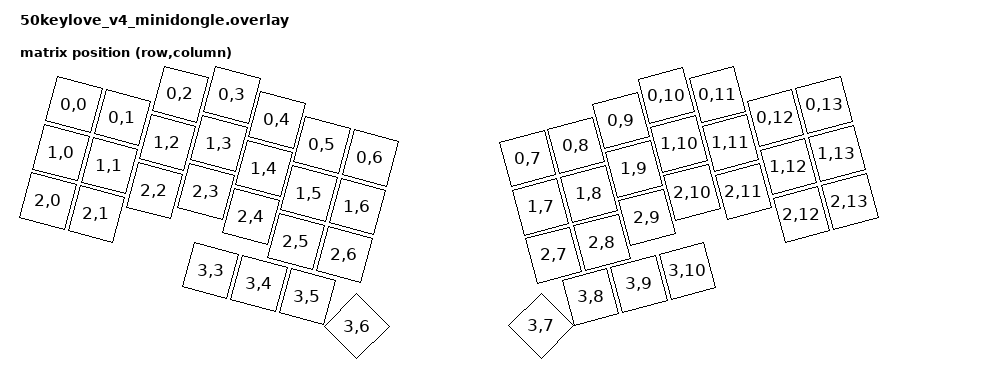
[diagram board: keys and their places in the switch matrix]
#include <dt-bindings/zmk/matrix_transform.h>
#include <physical_layouts.dtsi>

/ {
    chosen {
        zmk,kscan = &mock_kscan;
        zephyr,display = &oled;
        zmk,physical-layout = &physical_layout1;
    };

    mock_kscan: mock_kscan {
        compatible = "zmk,kscan-mock";
        columns = <0>;
        rows = <0>;
        events = <0>;
    };

    keymap_transform1: keymap_transform1 {
        compatible = "zmk,matrix-transform";
        columns = <14>; // Length of the "col-gpios" array
        rows = <4>; // Length of the "row-gpios" array
        map = <
            RC(0,0) RC(0,1) RC(0,2) RC(0,3) RC(0,4) RC(0,5) RC(0,6)  RC(0,7) RC(0,8) RC(0,9) RC(0,10) RC(0,11) RC(0,12) RC(0,13)
            RC(1,0) RC(1,1) RC(1,2) RC(1,3) RC(1,4) RC(1,5) RC(1,6)  RC(1,7) RC(1,8) RC(1,9) RC(1,10) RC(1,11) RC(1,12) RC(1,13)
            RC(2,0) RC(2,1) RC(2,2) RC(2,3) RC(2,4) RC(2,5) RC(2,6)  RC(2,7) RC(2,8) RC(2,9) RC(2,10) RC(2,11) RC(2,12) RC(2,13)
                                    RC(3,3) RC(3,4) RC(3,5) RC(3,6)  RC(3,7) RC(3,8) RC(3,9) RC(3,10) 
        >;
    };

    physical_layout1: physical_layout1 {
        compatible = "zmk,physical-layout";
        display-name = "50keylove-LAYOUT";
        kscan = <&mock_kscan>;
        transform = <&keymap_transform1>;

        keys  //                     w   h    x    y     rot    rx    ry
            = <&key_physical_attrs 100 100    0  100    1500   360   160>
            , <&key_physical_attrs 100 100  100  100    1500   360   160>
            , <&key_physical_attrs 100 100  200   25    1500   360   160>
            , <&key_physical_attrs 100 100  300    0    1500   360   160>
            , <&key_physical_attrs 100 100  400   25    1500   360   160>
            , <&key_physical_attrs 100 100  500   50    1500   360   160>
            , <&key_physical_attrs 100 100  600   50    1500   360   160>
            , <&key_physical_attrs 100 100  925   50 (-1500)  1270   156>
            , <&key_physical_attrs 100 100 1025   50 (-1500)  1270   156>
            , <&key_physical_attrs 100 100 1125   25 (-1500)  1270   156>
            , <&key_physical_attrs 100 100 1225    0 (-1500)  1270   156>
            , <&key_physical_attrs 100 100 1325   25 (-1500)  1270   156>
            , <&key_physical_attrs 100 100 1425  100 (-1500)  1270   156>
            , <&key_physical_attrs 100 100 1525  100 (-1500)  1270   156>
            , <&key_physical_attrs 100 100    0  200    1500   360   160>
            , <&key_physical_attrs 100 100  100  200    1500   360   160>
            , <&key_physical_attrs 100 100  200  125    1500   360   160>
            , <&key_physical_attrs 100 100  300  100    1500   360   160>
            , <&key_physical_attrs 100 100  400  125    1500   360   160>
            , <&key_physical_attrs 100 100  500  150    1500   360   160>
            , <&key_physical_attrs 100 100  600  150    1500   360   160>
            , <&key_physical_attrs 100 100  925  150 (-1500)  1270   156>
            , <&key_physical_attrs 100 100 1025  150 (-1500)  1270   156>
            , <&key_physical_attrs 100 100 1125  125 (-1500)  1270   156>
            , <&key_physical_attrs 100 100 1225  100 (-1500)  1270   156>
            , <&key_physical_attrs 100 100 1325  125 (-1500)  1270   156>
            , <&key_physical_attrs 100 100 1425  200 (-1500)  1270   156>
            , <&key_physical_attrs 100 100 1525  200 (-1500)  1270   156>
            , <&key_physical_attrs 100 100    0  300    1500   360   160>
            , <&key_physical_attrs 100 100  100  300    1500   360   160>
            , <&key_physical_attrs 100 100  200  225    1500   360   160>
            , <&key_physical_attrs 100 100  300  200    1500   360   160>
            , <&key_physical_attrs 100 100  400  225    1500   360   160>
            , <&key_physical_attrs 100 100  500  250    1500   360   160>
            , <&key_physical_attrs 100 100  600  250    1500   360   160>
            , <&key_physical_attrs 100 100  925  250 (-1500)  1270   156>
            , <&key_physical_attrs 100 100 1025  250 (-1500)  1270   156>
            , <&key_physical_attrs 100 100 1125  225 (-1500)  1270   156>
            , <&key_physical_attrs 100 100 1225  200 (-1500)  1270   156>
            , <&key_physical_attrs 100 100 1325  225 (-1500)  1270   156>
            , <&key_physical_attrs 100 100 1425  300 (-1500)  1270   156>
            , <&key_physical_attrs 100 100 1525  300 (-1500)  1270   156>
            , <&key_physical_attrs 100 100  350  350    1500   360   160>
            , <&key_physical_attrs 100 100  450  350    1500   360   160>
            , <&key_physical_attrs 100 100  550  350    1500   360   160>
            , <&key_physical_attrs 100 100  750  170    4500   360   160>
            , <&key_physical_attrs 100 100  775  165 (-4500)  1270   156>
            , <&key_physical_attrs 100 100  975  350 (-1500)  1270   156>
            , <&key_physical_attrs 100 100 1075  350 (-1500)  1270   156>
            , <&key_physical_attrs 100 100 1175  350 (-1500)  1270   156>
            ;
    };
};

&pinctrl {
    /* configuration for i2c0 device, default state */
    i2c0_default: i2c0_default {
        group1 {
            psels = <NRF_PSEL(TWIM_SDA, 0, 24)>,
                <NRF_PSEL(TWIM_SCL, 0, 22)>;
        };
    };

    i2c0_sleep: i2c0_sleep {
        group1 {
            psels = <NRF_PSEL(TWIM_SDA, 0, 24)>,
                <NRF_PSEL(TWIM_SCL, 0, 22)>;
            low-power-enable;
        };
    };
};

/*&pro_micro_spi {
    status = "okay";
    compatible = "nordic,nrf-spim";
    pinctrl-0 = <&spi0_default>;
    pinctrl-1 = <&spi0_sleep>;
    pinctrl-names = "default", "sleep";

    oled: ssd1306@0 {
        compatible = "solomon,ssd1306fb";
        data_cmd-gpios = <&gpio0 24 0>;
        segment-offset = <0>;
        page-offset = <0>;
        display-offset = <0>;
        multiplex-ratio = <63>;
        prechargep = <0x22>;
        reset-gpios = <&gpio0 22 GPIO_ACTIVE_LOW>;
        height = <64>;
        width = <128>;
        spi-max-frequency = <10000000>;
        reg = <0x00>;
        //segment-remap;
        //com-invdir;
        inversion-on;
    };
};*/

&pro_micro_i2c {
    status = "okay";
    pinctrl-0 = <&i2c0_default>;
    pinctrl-1 = <&i2c0_sleep>;
    pinctrl-names = "default", "sleep";
    compatible = "nordic,nrf-twi";
    clock-frequency = <100000>;

    oled: ssd1306@3c {
        compatible = "solomon,ssd1306fb";
        reg = <0x3c>;
        width = <100>;
        height = <40>;
        segment-offset = <0>;
        page-offset = <0>;
        display-offset = <0>;
        multiplex-ratio = <39>;
        //segment-remap;
        //com-invdir;
        //com-sequential;
        inversion-on;
        prechargep = <0x22>;
    };
};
